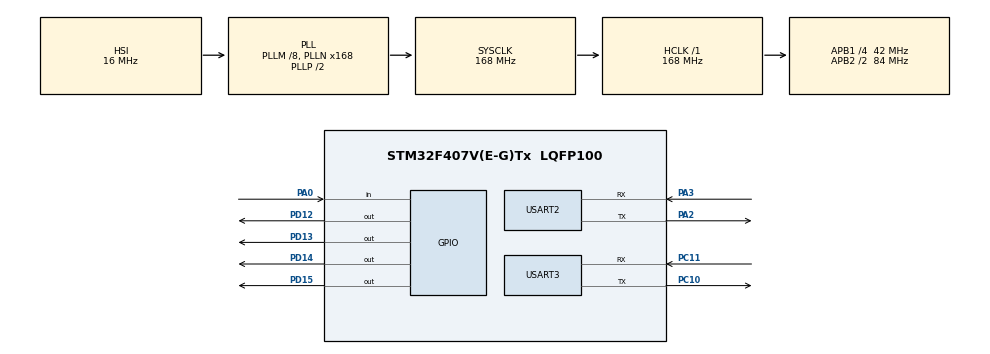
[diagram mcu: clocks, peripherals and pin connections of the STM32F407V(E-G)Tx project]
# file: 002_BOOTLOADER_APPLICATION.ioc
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Mcu.Family=STM32F4
Mcu.Name=STM32F407V(E-G)Tx
Mcu.Package=LQFP100
NVIC.PriorityGroup=NVIC_PRIORITYGROUP_4
PA0-WKUP.Signal=GPIO_Input
PA2.Mode=Asynchronous
PA2.Signal=USART2_TX
PA3.Mode=Asynchronous
PA3.Signal=USART2_RX
PC10.Mode=Asynchronous
PC10.Signal=USART3_TX
PC11.Mode=Asynchronous
PC11.Signal=USART3_RX
PD12.Signal=GPIO_Output
PD13.Signal=GPIO_Output
PD14.Signal=GPIO_Output
PD15.Signal=GPIO_Output
ProjectManager.HeapSize=0x200
ProjectManager.StackSize=0x400
ProjectManager.TargetToolchain=STM32CubeIDE
RCC.48MHZClocksFreq_Value=84000000
RCC.AHBFreq_Value=168000000
RCC.APB1CLKDivider=RCC_HCLK_DIV4
RCC.APB1Freq_Value=42000000
RCC.APB1TimFreq_Value=84000000
RCC.APB2CLKDivider=RCC_HCLK_DIV2
RCC.APB2Freq_Value=84000000
RCC.APB2TimFreq_Value=168000000
RCC.CortexFreq_Value=168000000
RCC.HCLKFreq_Value=168000000
RCC.HSE_VALUE=25000000
RCC.HSI_VALUE=16000000
RCC.LSE_VALUE=32768
RCC.PLLM=8
RCC.PLLN=168
RCC.SYSCLKFreq_VALUE=168000000
RCC.SYSCLKSource=RCC_SYSCLKSOURCE_PLLCLK
RCC.VCOOutputFreq_Value=336000000
USART2.VirtualMode=VM_ASYNC
USART3.VirtualMode=VM_ASYNC
VP_CRC_VS_CRC.Mode=CRC_Activate
board=custom

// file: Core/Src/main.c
/* USER CODE BEGIN Header */
/**
  ******************************************************************************
  * @file           : main.c
  * @brief          : Main program body
  ******************************************************************************
  * @attention
  *
  * <h2><center>&copy; Copyright (c) 2021 STMicroelectronics.
  * All rights reserved.</center></h2>
  *
  * This software component is licensed by ST under BSD 3-Clause license,
  * the "License"; You may not use this file except in compliance with the
  * License. You may obtain a copy of the License at:
  *                        opensource.org/licenses/BSD-3-Clause
  *
  ******************************************************************************
  */
/* USER CODE END Header */
#include "main.h"

/* USER CODE BEGIN Includes */
#include "bootloader_command_code.h"
#include "bootloader_command_app.h"
#include "stdarg.h"
#include "stdio.h"
#include "string.h"
/* USER CODE END Includes */

/* USER CODE BEGIN PD */
#define FLASH_SECTOR2_BASE_ADDRESS 0x08008000

#define BL_RX_DATA_LENGTH 266

/* USER CODE END PD */

CRC_HandleTypeDef hcrc;

UART_HandleTypeDef huart2;
UART_HandleTypeDef huart3;

/* USER CODE BEGIN PV */

uint8_t bootloader_rx_data[BL_RX_DATA_LENGTH];

/* USER CODE END PV */

void SystemClock_Config(void);
static void MX_GPIO_Init(void);
static void MX_USART2_UART_Init(void);
static void MX_USART3_UART_Init(void);
static void MX_CRC_Init(void);

/* USER CODE BEGIN 0 */

void printMessage(char *format, ...)
{
	char comingMessage[100];

	va_list vaList;
	va_start(vaList, format);
	vsprintf(comingMessage, format, vaList);
	HAL_UART_Transmit(&huart2, (uint8_t*)comingMessage, strlen(comingMessage), HAL_MAX_DELAY);
	va_end(vaList);
}

void bootloader_uart_data_read(void)
{
	uint8_t bl_rx_length = 0;

	while(1)
	{
		memset(bootloader_rx_data, 0, BL_RX_DATA_LENGTH);

		HAL_UART_Receive(&huart3, bootloader_rx_data, 1, HAL_MAX_DELAY);

		bl_rx_length = bootloader_rx_data[0];

		HAL_UART_Receive(&huart3, &bootloader_rx_data[1], bl_rx_length, HAL_MAX_DELAY);

		switch(bootloader_rx_data[1])
		{
			case BL_GET_VER:
				bootloader_get_ver_cmd(bootloader_rx_data);
			break;
			case BL_GET_HELP:
				bootloader_get_help_cmd(bootloader_rx_data);
			break;
			case BL_GET_CID:
				bootloader_get_cid_cmd(bootloader_rx_data);
			break;
			case BL_GET_RDP_STATUS:
				bootloader_get_rdp_cmd(bootloader_rx_data);
			break;
			case BL_GO_TO_ADDR:
				bootloader_go_to_addr_cmd(bootloader_rx_data);
			case BL_FLASH_ERASE:
				bootloader_flash_erase_cmd(bootloader_rx_data);
			break;
			case BL_MEM_WRITE:
				bootloader_mem_write_cmd(bootloader_rx_data);
			case BL_EN_RW_PROTECT:
				bootloader_enable_read_write_protect_cmd(bootloader_rx_data);
			break;
			case BL_READ_SECTOR_P_STATUS:
				bootloader_read_sector_protection_status_cmd(bootloader_rx_data);
			case BL_DIS_R_W_PROTECT:
				bootloader_disable_read_write_protect_cmd(bootloader_rx_data);
			default:
				break;
		}
	}
}

void bootloader_jump_to_user_application(void)
{
	// 1- Sifirlama isleyicisinin adresini tutan bir fonksiyon göstericisi
	void (*bootloader_application_reset_handler)(void);
	// 2- Kullanici uygulamasina atlama kodu çagrildi
	printMessage("BL DEBUG MSG: Called bootloader_jump_to_user_application() \n");
	// 3- MSP'nin degerini tut
	uint32_t mspValue = *(volatile uint32_t*) FLASH_SECTOR2_BASE_ADDRESS;
	printMessage("BL DEBUG MSG: MSP Value: %#x \n", mspValue);
	__set_MSP(mspValue);
	// 4- Sifirlama isleyicisinin degerini tut
	uint32_t resetValue = *(volatile uint32_t*) (FLASH_SECTOR2_BASE_ADDRESS + 4);
	printMessage("BL DEBUG MSG: Reset Value: %#x \n", resetValue);
	// 5- Sifirlama isleyicisi ile bir islev baslat
	bootloader_application_reset_handler = (void*) resetValue;
	// 6- Sifirlama isleyicisini çagir ve kullanici uygulamasina atla
	bootloader_application_reset_handler();
}

/* USER CODE END 0 */

int main(void)
{

  /* MCU Configuration--------------------------------------------------------*/

  /* Reset of all peripherals, Initializes the Flash interface and the Systick. */
  HAL_Init();

  /* Configure the system clock */
  SystemClock_Config();

  /* Initialize all configured peripherals */
  MX_GPIO_Init();
  MX_USART2_UART_Init();
  MX_USART3_UART_Init();
  MX_CRC_Init();
  /* USER CODE BEGIN 2 */

  if(HAL_GPIO_ReadPin(GPIOA, GPIO_PIN_0) == GPIO_PIN_SET)
  {
	  printMessage("BL DEBUG MSG: Button is pressed and going to bootloader mode.\n");

	  bootloader_uart_data_read();
  }
  else
  {
	  printMessage("BL DEBUG MSG: Button is not pressed and executing user application.\n");

	  bootloader_jump_to_user_application();
  }

  /* USER CODE END 2 */

  /* Infinite loop */
  while (1)
  {

  }
}

void SystemClock_Config(void)
{
  RCC_OscInitTypeDef RCC_OscInitStruct = {0};
  RCC_ClkInitTypeDef RCC_ClkInitStruct = {0};

  /** Configure the main internal regulator output voltage
  */
  __HAL_RCC_PWR_CLK_ENABLE();
  __HAL_PWR_VOLTAGESCALING_CONFIG(PWR_REGULATOR_VOLTAGE_SCALE1);
  /** Initializes the RCC Oscillators according to the specified parameters
  * in the RCC_OscInitTypeDef structure.
  */
  RCC_OscInitStruct.OscillatorType = RCC_OSCILLATORTYPE_HSI;
  RCC_OscInitStruct.HSIState = RCC_HSI_ON;
  RCC_OscInitStruct.HSICalibrationValue = RCC_HSICALIBRATION_DEFAULT;
  RCC_OscInitStruct.PLL.PLLState = RCC_PLL_ON;
  RCC_OscInitStruct.PLL.PLLSource = RCC_PLLSOURCE_HSI;
  RCC_OscInitStruct.PLL.PLLM = 8;
  RCC_OscInitStruct.PLL.PLLN = 168;
  RCC_OscInitStruct.PLL.PLLP = RCC_PLLP_DIV2;
  RCC_OscInitStruct.PLL.PLLQ = 4;
  if (HAL_RCC_OscConfig(&RCC_OscInitStruct) != HAL_OK)
  {
    Error_Handler();
  }
  /** Initializes the CPU, AHB and APB buses clocks
  */
  RCC_ClkInitStruct.ClockType = RCC_CLOCKTYPE_HCLK|RCC_CLOCKTYPE_SYSCLK
                              |RCC_CLOCKTYPE_PCLK1|RCC_CLOCKTYPE_PCLK2;
  RCC_ClkInitStruct.SYSCLKSource = RCC_SYSCLKSOURCE_PLLCLK;
  RCC_ClkInitStruct.AHBCLKDivider = RCC_SYSCLK_DIV1;
  RCC_ClkInitStruct.APB1CLKDivider = RCC_HCLK_DIV4;
  RCC_ClkInitStruct.APB2CLKDivider = RCC_HCLK_DIV2;

  if (HAL_RCC_ClockConfig(&RCC_ClkInitStruct, FLASH_LATENCY_5) != HAL_OK)
  {
    Error_Handler();
  }
}

static void MX_CRC_Init(void)
{

  hcrc.Instance = CRC;
  if (HAL_CRC_Init(&hcrc) != HAL_OK)
  {
    Error_Handler();
  }

}

static void MX_USART2_UART_Init(void)
{

  huart2.Instance = USART2;
  huart2.Init.BaudRate = 115200;
  huart2.Init.WordLength = UART_WORDLENGTH_8B;
  huart2.Init.StopBits = UART_STOPBITS_1;
  huart2.Init.Parity = UART_PARITY_NONE;
  huart2.Init.Mode = UART_MODE_TX_RX;
  huart2.Init.HwFlowCtl = UART_HWCONTROL_NONE;
  huart2.Init.OverSampling = UART_OVERSAMPLING_16;
  if (HAL_UART_Init(&huart2) != HAL_OK)
  {
    Error_Handler();
  }

}

static void MX_USART3_UART_Init(void)
{

  huart3.Instance = USART3;
  huart3.Init.BaudRate = 115200;
  huart3.Init.WordLength = UART_WORDLENGTH_8B;
  huart3.Init.StopBits = UART_STOPBITS_1;
  huart3.Init.Parity = UART_PARITY_NONE;
  huart3.Init.Mode = UART_MODE_TX_RX;
  huart3.Init.HwFlowCtl = UART_HWCONTROL_NONE;
  huart3.Init.OverSampling = UART_OVERSAMPLING_16;
  if (HAL_UART_Init(&huart3) != HAL_OK)
  {
    Error_Handler();
  }

}

static void MX_GPIO_Init(void)
{
  GPIO_InitTypeDef GPIO_InitStruct = {0};

  /* GPIO Ports Clock Enable */
  __HAL_RCC_GPIOA_CLK_ENABLE();
  __HAL_RCC_GPIOD_CLK_ENABLE();
  __HAL_RCC_GPIOC_CLK_ENABLE();

  /*Configure GPIO pin Output Level */
  HAL_GPIO_WritePin(GPIOD, GPIO_PIN_12|GPIO_PIN_13|GPIO_PIN_14|GPIO_PIN_15, GPIO_PIN_RESET);

  /*Configure GPIO pin : PA0 */
  GPIO_InitStruct.Pin = GPIO_PIN_0;
  GPIO_InitStruct.Mode = GPIO_MODE_INPUT;
  GPIO_InitStruct.Pull = GPIO_NOPULL;
  HAL_GPIO_Init(GPIOA, &GPIO_InitStruct);

  /*Configure GPIO pins : PD12 PD13 PD14 PD15 */
  GPIO_InitStruct.Pin = GPIO_PIN_12|GPIO_PIN_13|GPIO_PIN_14|GPIO_PIN_15;
  GPIO_InitStruct.Mode = GPIO_MODE_OUTPUT_PP;
  GPIO_InitStruct.Pull = GPIO_NOPULL;
  GPIO_InitStruct.Speed = GPIO_SPEED_FREQ_LOW;
  HAL_GPIO_Init(GPIOD, &GPIO_InitStruct);

}

void Error_Handler(void)
{
}

/************************ (C) COPYRIGHT STMicroelectronics *****END OF FILE****/
